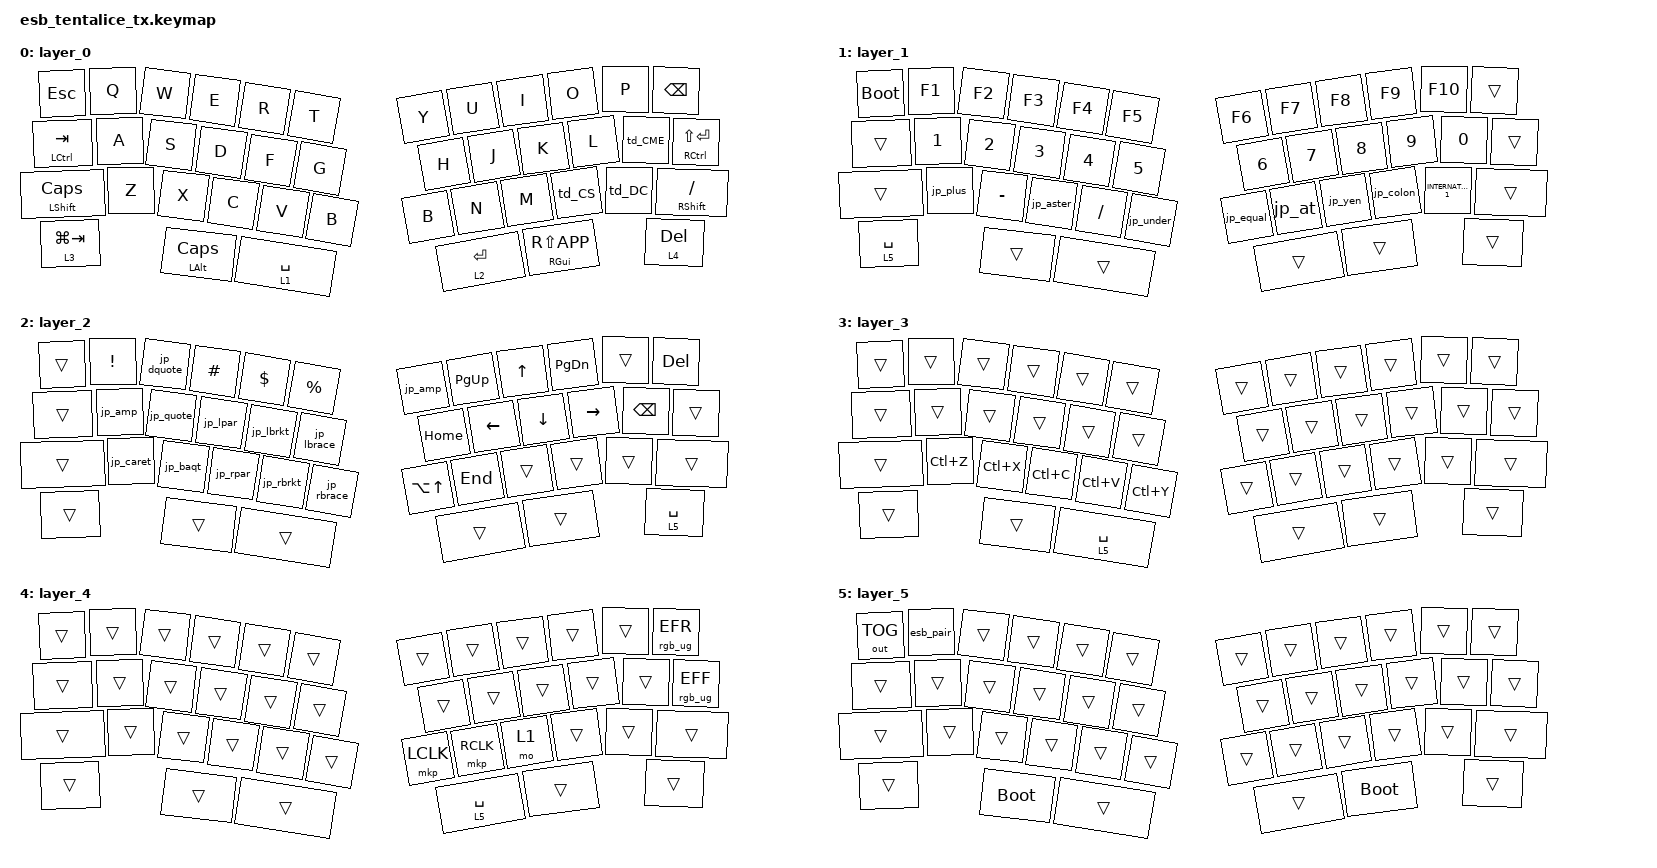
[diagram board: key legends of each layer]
/*
 * TentAlice keymap ported from zmk-config-tentalice
 * (config/tentalice.keymap).
 *
 * Simplifications for this ESB test config (external ZMK modules
 * used by the original are not in this workspace):
 * - Trackball processors: sensor_rotation (45 deg), pointer
 *   acceleration, scroll snap and mouse gesture are omitted.
 *   Kept (ZMK core): XY swap/invert, temp mouse layer, scroll
 *   mode on layers 1/2.
 * - The RGB layer/mod indicator hold-taps (rlt and rmt families)
 *   are replaced by plain &lt / &mt with the same parameters.
 * - &mouse_gesture (layer 4) is &trans; layer 5's &bt entries are
 *   &trans (this build has no BLE endpoints). The original's first
 *   &out position (layer 5 row 1, &out OUT_BLE) now holds
 *   &out OUT_TOG, which cycles USB <-> ESB in this dual-mode build.
 * - Step 2: layer 5 position 1 (next to &out OUT_TOG) is &esb_pair,
 *   which opens the receiver pairing window for slot 0.
 *
 * SPDX-License-Identifier: MIT
 */

#include <dt-bindings/zmk/behaviors.h>
#include <input/processors.dtsi>
#include <dt-bindings/zmk/input_transform.h>
#include <behaviors.dtsi>
#include <dt-bindings/zmk/keys.h>
#include <dt-bindings/zmk/outputs.h>
#include <dt-bindings/zmk/pointing.h>
#include <dt-bindings/zmk/rgb.h>

&lt {
    quick-tap-ms = <180>;
    flavor = "hold-preferred";
};

&mt {
    quick-tap-ms = <180>;
    flavor = "hold-preferred";
};

/* Trackball: ball movement raises the mouse layer (core temp-layer
 * processor), same idea as the original. */
&zip_temp_layer {
    excluded-positions = <
        12 /* left Ctrl */
        24 /* left Shift */
        30 /* right B */
        31 /* N */
        32 /* M */
        33 /* , */
        37 /* left Alt */
    >;
    require-prior-idle-ms = <200>;
};

&mkp_input_listener {
    input-processors = <&zip_temp_layer 4 100000>;
};

/ {
    trackball_listener: trackball_listener {
        compatible = "zmk,input-listener";
        device = <&trackball>;

        input-processors = <
            &zip_xy_transform (INPUT_TRANSFORM_XY_SWAP | INPUT_TRANSFORM_Y_INVERT)
            &zip_temp_layer 4 100000
        >;

        scroll_mode {
            layers = <1 2>;
            input-processors = <
                &zip_xy_transform (INPUT_TRANSFORM_XY_SWAP | INPUT_TRANSFORM_Y_INVERT)
                &zip_xy_to_scroll_mapper
                &zip_scroll_scaler 1 10
            >;
        };
    };

    behaviors {
        td_CS: tap_dance_1 {
            compatible = "zmk,behavior-tap-dance";
            #binding-cells = <0>;
            tapping-term-ms = <170>;
            bindings = <&kp COMMA>, <&kp SEMI>;
            label = ",";
        };

        td_DC: tap_dance_2 {
            compatible = "zmk,behavior-tap-dance";
            #binding-cells = <0>;
            tapping-term-ms = <170>;
            bindings = <&kp DOT>, <&jp_colon>;
            label = ".";
        };

        td_CME: tap_dance_3 {
            compatible = "zmk,behavior-tap-dance";
            #binding-cells = <0>;
            tapping-term-ms = <170>;
            bindings = <&mt RCTRL MINUS>, <&jp_equal>;
            label = "/";
        };

        /* JP layout macros (same definitions as the original). */

        jp_dquote: jp_dquote {
            compatible = "zmk,behavior-macro";
            #binding-cells = <0>;
            label = "JP_DQUOTE";
            bindings = <&kp AT>;
        };

        jp_amp: jp_amp {
            compatible = "zmk,behavior-macro";
            #binding-cells = <0>;
            label = "JP_AMP";
            bindings = <&kp CARET>;
        };

        jp_quote: jp_quote {
            compatible = "zmk,behavior-macro";
            #binding-cells = <0>;
            label = "JP_QUOTE";
            bindings = <&kp AMPERSAND>;
        };

        jp_equal: jp_equal {
            compatible = "zmk,behavior-macro";
            #binding-cells = <0>;
            label = "JP_EQUAL";
            bindings = <&kp UNDER>;
        };

        jp_caret: jp_caret {
            compatible = "zmk,behavior-macro";
            #binding-cells = <0>;
            label = "JP_CARET";
            bindings = <&kp EQUAL>;
        };

        jp_yen: jp_yen {
            compatible = "zmk,behavior-macro";
            #binding-cells = <0>;
            label = "JP_YEN";
            bindings = <&kp 0x89>;
        };

        jp_plus: jp_plus {
            compatible = "zmk,behavior-macro";
            #binding-cells = <0>;
            label = "JP_PLUS";
            bindings = <&kp COLON>;
        };

        jp_tilde: jp_tilde {
            compatible = "zmk,behavior-macro";
            #binding-cells = <0>;
            label = "JP_TILDE";
            bindings = <&kp PLUS>;
        };

        jp_pipe: jp_pipe {
            compatible = "zmk,behavior-macro";
            #binding-cells = <0>;
            label = "JP_PIPE";
            bindings = <&kp LS(0x89)>;
        };

        jp_at: jp_at {
            compatible = "zmk,behavior-macro";
            #binding-cells = <0>;
            label = "JP_AT";
            bindings = <&kp LEFT_BRACKET>;
        };

        jp_colon: jp_colon {
            compatible = "zmk,behavior-macro";
            #binding-cells = <0>;
            label = "JP_COLON";
            bindings = <&kp SINGLE_QUOTE>;
        };

        jp_aster: jp_aster {
            compatible = "zmk,behavior-macro";
            #binding-cells = <0>;
            label = "JP_ASTER";
            bindings = <&kp DOUBLE_QUOTES>;
        };

        jp_baqt: jp_baqt {
            compatible = "zmk,behavior-macro";
            #binding-cells = <0>;
            label = "JP_BAQT";
            bindings = <&kp LEFT_BRACE>;
        };

        jp_under: jp_under {
            compatible = "zmk,behavior-macro";
            #binding-cells = <0>;
            label = "JP_UNDER";
            bindings = <&kp LS(0x87)>;
        };

        jp_lbrkt: jp_lbrkt {
            compatible = "zmk,behavior-macro";
            #binding-cells = <0>;
            label = "JP_LBRACKET";
            bindings = <&kp RIGHT_BRACKET>;
        };

        jp_rbrkt: jp_rbrkt {
            compatible = "zmk,behavior-macro";
            #binding-cells = <0>;
            label = "JP_RBRACKET";
            bindings = <&kp BACKSLASH>;
        };

        jp_lpar: jp_lpar {
            compatible = "zmk,behavior-macro";
            #binding-cells = <0>;
            label = "JP_LPAREN";
            bindings = <&kp ASTERISK>;
        };

        jp_rpar: jp_rpar {
            compatible = "zmk,behavior-macro";
            #binding-cells = <0>;
            label = "JP_RPAREN";
            bindings = <&kp LEFT_PARENTHESIS>;
        };

        jp_lbrace: jp_lbrace {
            compatible = "zmk,behavior-macro";
            #binding-cells = <0>;
            label = "JP_LBRACE";
            bindings = <&kp RIGHT_BRACE>;
        };

        jp_rbrace: jp_rbrace {
            compatible = "zmk,behavior-macro";
            #binding-cells = <0>;
            label = "JP_RBRACE";
            bindings = <&kp PIPE>;
        };

        jp_kana: jp_kana {
            compatible = "zmk,behavior-macro";
            #binding-cells = <0>;
            label = "JP_KANA";
            bindings = <&kp LANGUAGE_1>;
        };

        jp_eisu: jp_eisu {
            compatible = "zmk,behavior-macro";
            #binding-cells = <0>;
            label = "JP_EISU";
            bindings = <&kp LANGUAGE_2>;
        };

        jp_hanzen: jp_hanzen {
            compatible = "zmk,behavior-macro";
            #binding-cells = <0>;
            label = "JP_HANZEN";
            bindings = <&kp GRAVE>;
        };
    };

    keymap {
        compatible = "zmk,keymap";

        layer_0 {
            bindings = <
                &kp ESC            &kp Q  &kp W  &kp E  &kp R  &kp T            &kp Y  &kp U  &kp I  &kp O   &kp P    &kp BSPC
                &mt LCTRL TAB      &kp A  &kp S  &kp D  &kp F  &kp G            &kp H  &kp J  &kp K  &kp L   &td_CME  &mt RCTRL LS(RET)
                &mt LSHFT CAPSLOCK &kp Z  &kp X  &kp C  &kp V  &kp B            &kp B  &kp N  &kp M  &td_CS  &td_DC   &mt RSHFT SLASH
                &lt 3 LG(TAB)      &mt LALT CAPSLOCK  &lt 1 SPACE  &lt 2 RET  &mt RGUI RS(K_APP)  &lt 4 DEL
            >;
        };

        layer_1 {
            bindings = <
                &bootloader &kp F1    &kp F2     &kp F3     &kp F4     &kp F5     &kp F6     &kp F7  &kp F8   &kp F9     &kp F10              &trans
                &trans      &kp N1    &kp N2     &kp N3     &kp N4     &kp N5     &kp N6     &kp N7  &kp N8   &kp N9     &kp N0               &trans
                &trans      &jp_plus  &kp MINUS  &jp_aster  &kp SLASH  &jp_under  &jp_equal  &jp_at  &jp_yen  &jp_colon  &kp INTERNATIONAL_1  &trans
                &lt 5 SPACE &trans    &trans     &trans     &trans     &trans
            >;
        };

        layer_2 {
            bindings = <
                &trans  &kp EXCL   &jp_dquote  &kp HASH  &kp DLLR   &kp PRCNT            &jp_amp     &kp PG_UP  &kp UP    &kp PG_DN  &trans    &kp DEL
                &trans  &jp_amp    &jp_quote   &jp_lpar  &jp_lbrkt  &jp_lbrace           &kp HOME    &kp LEFT   &kp DOWN  &kp RIGHT  &kp BSPC  &trans
                &trans  &jp_caret  &jp_baqt    &jp_rpar  &jp_rbrkt  &jp_rbrace           &kp LA(UP)  &kp END    &trans    &trans     &trans    &trans
                &trans  &trans     &trans      &trans    &trans     &lt 5 SPACE
            >;
        };

        layer_3 {
            bindings = <
                &trans  &trans     &trans               &trans     &trans     &trans     &trans  &trans  &trans  &trans  &trans  &trans
                &trans  &trans     &trans               &trans     &trans     &trans     &trans  &trans  &trans  &trans  &trans  &trans
                &trans  &kp LC(Z)  &kp LC(X)            &kp LC(C)  &kp LC(V)  &kp LC(Y)  &trans  &trans  &trans  &trans  &trans  &trans
                &trans  &trans     &lt 5 SPACE          &trans     &trans     &trans
            >;
        };

        layer_4 {
            bindings = <
                &trans  &trans  &trans  &trans               &trans  &trans  &trans     &trans     &trans  &trans          &trans  &rgb_ug RGB_EFR
                &trans  &trans  &trans  &trans               &trans  &trans  &trans     &trans     &trans  &trans          &trans  &rgb_ug RGB_EFF
                &trans  &trans  &trans  &trans               &trans  &trans  &mkp LCLK  &mkp RCLK  &mo 1   &trans          &trans  &trans
                &trans  &trans  &trans  &lt 5 SPACE          &trans  &trans
            >;
        };

        layer_5 {
            bindings = <
                &out OUT_TOG  &esb_pair  &trans  &trans  &trans  &trans    &trans  &trans  &trans  &trans  &trans  &trans
                &trans  &trans  &trans  &trans  &trans  &trans    &trans  &trans  &trans  &trans  &trans  &trans
                &trans  &trans  &trans  &trans  &trans  &trans    &trans  &trans  &trans  &trans  &trans  &trans
                &trans  &bootloader   &trans        &trans        &bootloader   &trans
            >;
        };
    };
};
